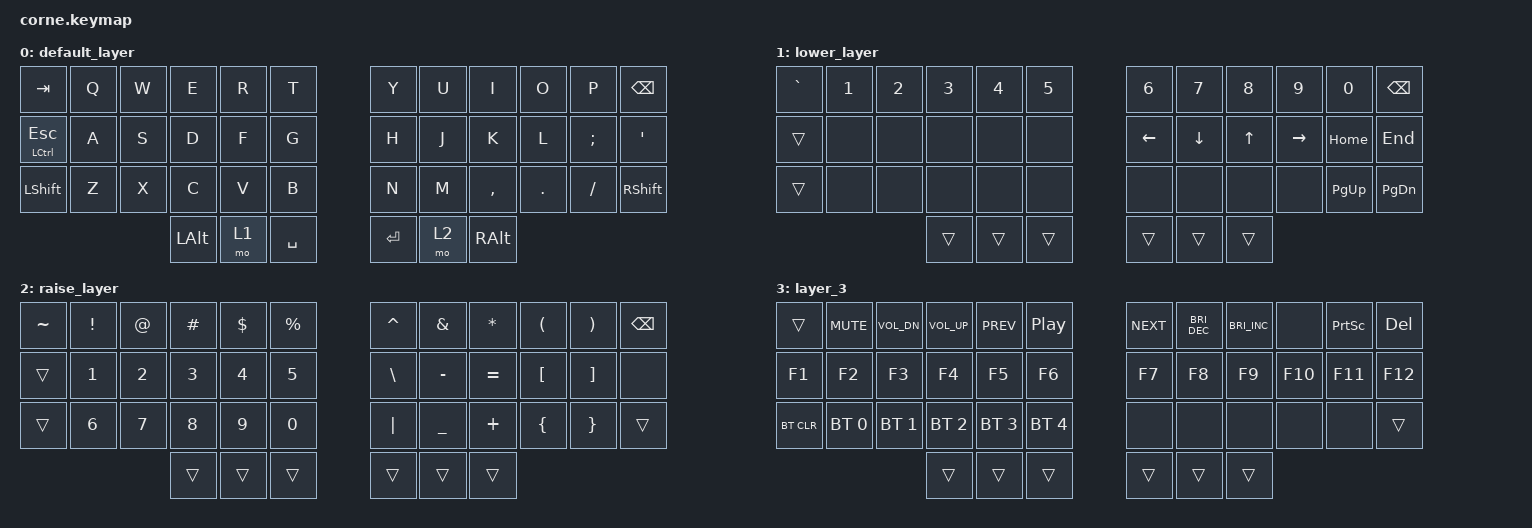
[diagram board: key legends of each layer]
/*
 * Copyright (c) 2020 The ZMK Contributors
 *
 * SPDX-License-Identifier: MIT
 */

#include <behaviors.dtsi>
#include <dt-bindings/zmk/bt.h>
#include <dt-bindings/zmk/keys.h>

/ {
    keymap {
        compatible = "zmk,keymap";

        default_layer {
            // -----------------------------------------------------------------------------------------
            // |  TAB |  Q  |  W  |  E  |  R  |  T  |   |  Y  |  U   |  I  |  O  |  P  | BKSP |
            // | CTRL |  A  |  S  |  D  |  F  |  G  |   |  H  |  J   |  K  |  L  |  ;  |  '   |
            // | SHFT |  Z  |  X  |  C  |  V  |  B  |   |  N  |  M   |  ,  |  .  |  /  | ESC  |
            //                    | GUI | LWR | SPC |   | ENT | RSE  | ALT |

            bindings = <
&kp TAB           &kp Q  &kp W  &kp E         &kp R  &kp T        &kp Y      &kp U  &kp I      &kp O    &kp P     &kp BSPC
&mt LCTRL ESCAPE  &kp A  &kp S  &kp D         &kp F  &kp G        &kp H      &kp J  &kp K      &kp L    &kp SEMI  &kp SQT
&kp LSHFT         &kp Z  &kp X  &kp C         &kp V  &kp B        &kp N      &kp M  &kp COMMA  &kp DOT  &kp FSLH  &kp RSHFT
                                &kp LEFT_ALT  &mo 1  &kp SPACE    &kp ENTER  &mo 2  &kp RALT
            >;
        };

        lower_layer {
            // -----------------------------------------------------------------------------------------
            // |  TAB |  1  |  2  |  3  |  4  |  5  |   |  6  |  7  |  8  |  9  |  0  | BKSP |
            // | BTCLR| BT1 | BT2 | BT3 | BT4 | BT5 |   | LFT | DWN |  UP | RGT |     |      |
            // | SHFT |     |     |     |     |     |   |     |     |     |     |     |      |
            //                    | GUI |     | SPC |   | ENT |     | ALT |

            bindings = <
&kp GRAVE  &kp N1  &kp N2  &kp N3  &kp N4  &kp N5    &kp N6    &kp N7    &kp N8  &kp N9     &kp N0       &kp BACKSPACE
&trans     &none   &none   &none   &none   &none     &kp LEFT  &kp DOWN  &kp UP  &kp RIGHT  &kp HOME     &kp END
&trans     &none   &none   &none   &none   &none     &none     &none     &none   &none      &kp PAGE_UP  &kp PAGE_DOWN
                           &trans  &trans  &trans    &trans    &trans    &trans
            >;
        };

        raise_layer {
            // -----------------------------------------------------------------------------------------
            // |  TAB |  !  |  @  |  #  |  $  |  %  |   |  ^  |  &  |  *  |  (  |  )  | BKSP |
            // | CTRL |     |     |     |     |     |   |  -  |  =  |  [  |  ]  |  \  |  `   |
            // | SHFT |     |     |     |     |     |   |  _  |  +  |  {  |  }  | "|" |  ~   |
            //                    | GUI |     | SPC |   | ENT |     | ALT |

            bindings = <
&kp TILDE  &kp EXCL  &kp AT  &kp POUND  &kp DOLLAR  &kp PERCENT    &kp CARET      &kp AMPERSAND   &kp ASTERISK  &kp LEFT_PARENTHESIS  &kp RIGHT_PARENTHESIS  &kp BACKSPACE
&trans     &kp N1    &kp N2  &kp N3     &kp N4      &kp N5         &kp BACKSLASH  &kp MINUS       &kp EQUAL     &kp LEFT_BRACKET      &kp RIGHT_BRACKET      &none
&trans     &kp N6    &kp N7  &kp N8     &kp N9      &kp N0         &kp PIPE       &kp UNDERSCORE  &kp PLUS      &kp LEFT_BRACE        &kp RIGHT_BRACE        &trans
                             &trans     &trans      &trans         &trans         &trans          &trans
            >;
        };

        layer_3 {
            bindings = <
&trans      &kp C_MUTE    &kp C_VOL_DN  &kp C_VOL_UP  &kp C_PREV    &kp C_PLAY_PAUSE    &kp C_NEXT  &kp C_BRIGHTNESS_DEC  &kp C_BRIGHTNESS_INC  &none    &kp PRINTSCREEN  &kp DELETE
&kp F1      &kp F2        &kp F3        &kp F4        &kp F5        &kp F6              &kp F7      &kp F8                &kp F9                &kp F10  &kp F11          &kp F12
&bt BT_CLR  &bt BT_SEL 0  &bt BT_SEL 1  &bt BT_SEL 2  &bt BT_SEL 3  &bt BT_SEL 4        &none       &none                 &none                 &none    &none            &trans
                                        &trans        &trans        &trans              &trans      &trans                &trans
            >;
        };
    };

    conditional_layers {
        compatible = "zmk,conditional-layers";

        function_layer {
            if-layers = <1 2>;
            then-layer = <3>;
        };
    };
};
